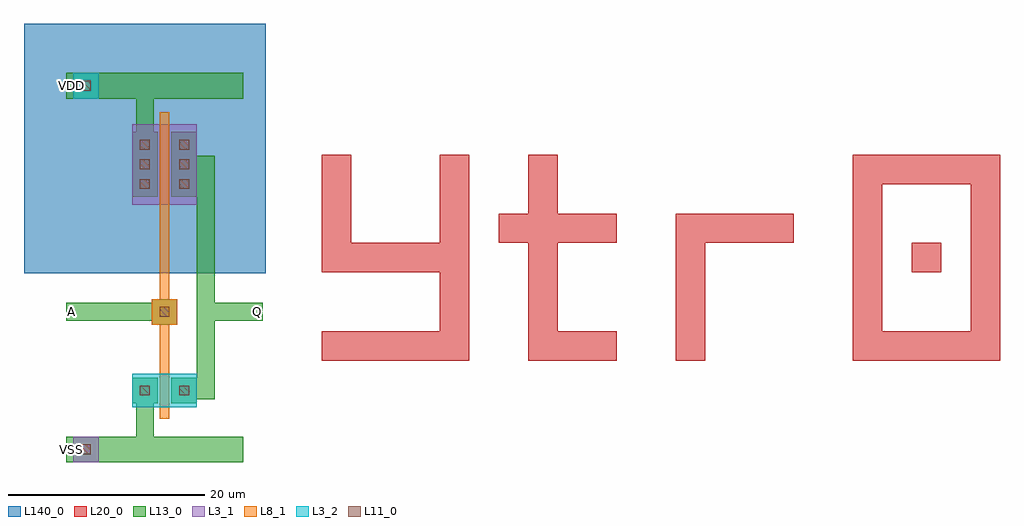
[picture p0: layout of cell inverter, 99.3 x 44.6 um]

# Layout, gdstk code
import gdstk
lib = gdstk.Library(unit=1e-6, precision=1e-09)
def R(c, l, rs):  # rectangles x0, y0, x1, y1
    for r in rs: c.add(gdstk.rectangle(r[:2], r[2:], *l))
def A(c, l, x, y, w, h, nx, ny, dx, dy):  # array of equal rectangles
    R(c, l, [(x+i*dx, y+j*dy, x+i*dx+w, y+j*dy+h) for i in range(nx) for j in range(ny)])
def P(c, l, *ps):  # polygons
    for p in ps: c.add(gdstk.Polygon(p, *l))
L3_1 = (3, 1)
L3_2 = (3, 2)
L8_1 = (8, 1)
L11_0 = (11, 0)
L13_0 = (13, 0)
L20_0 = (20, 0)
L140_0 = (140, 0)

fet_p = lib.new_cell('fet_p')
R(fet_p, L3_1, [(-3.3,-4.1,3.3,4.1)])
A(fet_p, L11_0, -2.5, -2.5, 1, 1, 1, 3, 0, 2)
A(fet_p, L11_0, 1.5, -2.5, 1, 1, 1, 3, 0, 2)
R(fet_p, L13_0, [(-3.3,-3.3,-0.7,3.3), (0.7,-3.3,3.3,3.3)])
fet_p.add(gdstk.FlexPath([(0,-5.3),(0,5.3)], 1, ends="flush", simple_path=True, layer=8, datatype=1))  # L8_1

fet_n = lib.new_cell('fet_n')
R(fet_n, L3_2, [(-3.3,-1.7,3.3,1.7)])
R(fet_n, L11_0, [(-2.5,-0.5,-1.5,0.5), (1.5,-0.5,2.5,0.5)])
R(fet_n, L13_0, [(-3.3,-1.3,-0.7,1.3), (0.7,-1.3,3.3,1.3)])
fet_n.add(gdstk.FlexPath([(0,-2.9),(0,2.9)], 1, ends="flush", simple_path=True, layer=8, datatype=1))  # L8_1

cont_g = lib.new_cell('cont_g')
R(cont_g, L8_1, [(-1.3,-1.3,1.3,1.3)])
R(cont_g, L11_0, [(-0.5,-0.5,0.5,0.5)])
R(cont_g, L13_0, [(-1.3,-1.3,1.3,1.3)])

cont_n = lib.new_cell('cont_n')
R(cont_n, L3_2, [(-1.3,-1.3,1.3,1.3)])
R(cont_n, L11_0, [(-0.5,-0.5,0.5,0.5)])
R(cont_n, L13_0, [(-1.3,-1.3,1.3,1.3)])

cont_p = lib.new_cell('cont_p')
R(cont_p, L3_1, [(-1.3,-1.3,1.3,1.3)])
R(cont_p, L11_0, [(-0.5,-0.5,0.5,0.5)])
R(cont_p, L13_0, [(-1.3,-1.3,1.3,1.3)])

art_ytr0 = lib.new_cell('art_ytr0')
R(art_ytr0, L20_0, [(60,9,63,12)])
P(art_ytr0, L20_0, [(36,0),(36,15),(48,15),(48,12),(39,12),(39,0)],
  [(0,0),(0,3),(12,3),(12,9),(0,9),(0,21),(3,21),(3,12),(12,12),(12,21),(15,21),(15,0)],
  [(21,0),(21,12),(18,12),(18,15),(21,15),(21,21),(24,21),(24,15),(30,15),(30,12),(24,12),(24,3),(30,3),(30,0)],
  [(54,0),(54,18),(57,18),(57,3),(66,3),(66,18),(54,18),(54,21),(69,21),(69,0)])

inverter = lib.new_cell('inverter')
R(inverter, L140_0, [(-14.3,-11.1,10.3,14.3)])
inverter.add(gdstk.FlexPath([(0,-15),(-10,-15)], 1.8, ends="flush", simple_path=True, layer=13, datatype=0))  # L13_0
inverter.add(gdstk.FlexPath([(2,0),(4.2,0),(4.2,-23),(2,-23)], 1.8, ends="flush", simple_path=True, layer=13, datatype=0))  # L13_0
inverter.add(gdstk.FlexPath([(4.2,-15),(10,-15)], 1.8, ends="flush", simple_path=True, layer=13, datatype=0))  # L13_0
inverter.add(gdstk.FlexPath([(-2,0),(-2,8)], 1.8, ends="flush", simple_path=True, layer=13, datatype=0))  # L13_0
inverter.add(gdstk.FlexPath([(-10,8),(8,8)], 2.6, ends="flush", simple_path=True, layer=13, datatype=0))  # L13_0
inverter.add(gdstk.FlexPath([(-2,-23),(-2,-29)], 1.8, ends="flush", simple_path=True, layer=13, datatype=0))  # L13_0
inverter.add(gdstk.FlexPath([(-10,-29),(8,-29)], 2.6, ends="flush", simple_path=True, layer=13, datatype=0))  # L13_0
inverter.add(gdstk.FlexPath([(0,-5.3),(0,-20.1)], 1, ends="flush", simple_path=True, layer=8, datatype=1))  # L8_1
inverter.add(gdstk.Reference(fet_p, (0,0)))
inverter.add(gdstk.Reference(fet_n, (0,-23)))
inverter.add(gdstk.Reference(cont_g, (0,-15)))
inverter.add(gdstk.Reference(cont_n, (-8,8)))
inverter.add(gdstk.Reference(cont_p, (-8,-29)))
inverter.add(gdstk.Reference(art_ytr0, (16,-20)))
inverter.add(gdstk.Label('A', (-9.5,-15), layer=48, texttype=0))
inverter.add(gdstk.Label('Q', (9.5,-15), layer=48, texttype=0))
inverter.add(gdstk.Label('VDD', (-9.5,8), layer=48, texttype=0))
inverter.add(gdstk.Label('VSS', (-9.5,-29), layer=48, texttype=0))

lib.write_gds('inverter.gds')
